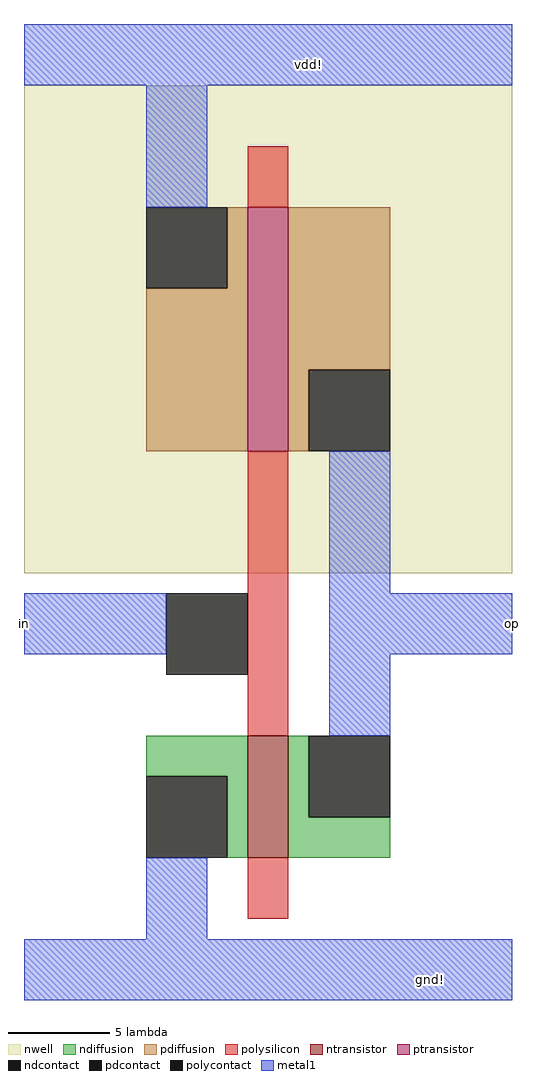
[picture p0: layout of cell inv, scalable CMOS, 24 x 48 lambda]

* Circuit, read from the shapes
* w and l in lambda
.subckt inv gnd! in op vdd!
M1 op in gnd! VSUBS nfet w=6 l=2
M2 op in vdd! n1 pfet w=12 l=2
.ends

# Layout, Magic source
magic
tech scmos
<< nwell >>
rect 0 6 24 30
<< polysilicon >>
rect 11 24 13 27
rect 11 -2 13 12
rect 11 -11 13 -8
<< ndiffusion >>
rect 6 -4 11 -2
rect 10 -8 11 -4
rect 13 -6 14 -2
rect 13 -8 18 -6
<< pdiffusion >>
rect 10 20 11 24
rect 6 12 11 20
rect 13 16 18 24
rect 13 12 14 16
<< metal1 >>
rect 0 30 24 33
rect 6 24 9 30
rect 15 5 18 12
rect 0 2 7 5
rect 15 2 24 5
rect 15 -2 18 2
rect 6 -12 9 -8
rect 0 -15 24 -12
<< ntransistor >>
rect 11 -8 13 -2
<< ptransistor >>
rect 11 12 13 24
<< polycontact >>
rect 7 1 11 5
<< ndcontact >>
rect 6 -8 10 -4
rect 14 -6 18 -2
<< pdcontact >>
rect 6 20 10 24
rect 14 12 18 16
<< labels >>
rlabel metal1 14 31 14 31 5 vdd!
rlabel metal1 24 2 24 5 7 op
rlabel metal1 0 2 0 5 3 in
rlabel metal1 20 -14 20 -14 1 gnd!
<< end >>
